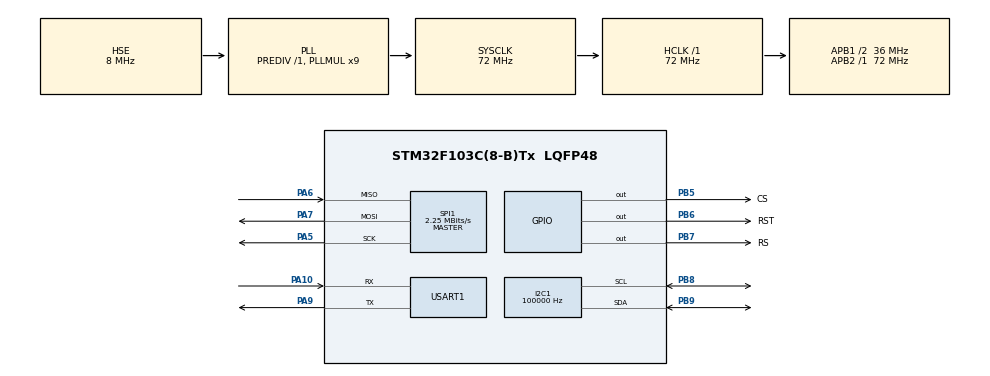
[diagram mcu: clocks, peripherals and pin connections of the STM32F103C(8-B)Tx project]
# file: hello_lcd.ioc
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Dma.Request0=SPI1_RX
Dma.Request1=SPI1_TX
Dma.SPI1_RX.0.Direction=DMA_PERIPH_TO_MEMORY
Dma.SPI1_RX.0.Instance=DMA1_Channel2
Dma.SPI1_RX.0.MemDataAlignment=DMA_MDATAALIGN_BYTE
Dma.SPI1_RX.0.MemInc=DMA_MINC_ENABLE
Dma.SPI1_RX.0.Mode=DMA_NORMAL
Dma.SPI1_RX.0.PeriphDataAlignment=DMA_PDATAALIGN_BYTE
Dma.SPI1_RX.0.PeriphInc=DMA_PINC_DISABLE
Dma.SPI1_RX.0.Priority=DMA_PRIORITY_LOW
Dma.SPI1_TX.1.Direction=DMA_MEMORY_TO_PERIPH
Dma.SPI1_TX.1.Instance=DMA1_Channel3
Dma.SPI1_TX.1.MemDataAlignment=DMA_MDATAALIGN_BYTE
Dma.SPI1_TX.1.MemInc=DMA_MINC_ENABLE
Dma.SPI1_TX.1.Mode=DMA_NORMAL
Dma.SPI1_TX.1.PeriphDataAlignment=DMA_PDATAALIGN_BYTE
Dma.SPI1_TX.1.PeriphInc=DMA_PINC_DISABLE
Dma.SPI1_TX.1.Priority=DMA_PRIORITY_LOW
FREERTOS.Tasks01=defaultTask,0,128,StartDefaultTask,Default,NULL
FREERTOS.configCHECK_FOR_STACK_OVERFLOW=1
FREERTOS.configTOTAL_HEAP_SIZE=8096
FREERTOS.configUSE_MALLOC_FAILED_HOOK=1
I2C1.ClockSpeed=100000
I2C1.NoStretchMode=I2C_NOSTRETCH_DISABLE
Mcu.Family=STM32F1
Mcu.Name=STM32F103C(8-B)Tx
Mcu.Package=LQFP48
NVIC.DMA1_Channel2_IRQn=true\:5\:0\:false\:false\:true\:true
NVIC.DMA1_Channel3_IRQn=true\:5\:0\:false\:false\:true\:true
NVIC.PriorityGroup=NVIC_PRIORITYGROUP_4
NVIC.RTC_IRQn=true\:0\:0\:false\:false\:true\:false
NVIC.SPI1_IRQn=true\:0\:0\:false\:false\:true\:false
NVIC.USART1_IRQn=true\:5\:0\:false\:false\:true\:true
PA10.Mode=Asynchronous
PA10.Signal=USART1_RX
PA13.Mode=Serial_Wire
PA13.Signal=SYS_JTMS-SWDIO
PA14.Mode=Serial_Wire
PA14.Signal=SYS_JTCK-SWCLK
PA5.Mode=Full_Duplex_Master
PA5.Signal=SPI1_SCK
PA6.Mode=Full_Duplex_Master
PA6.Signal=SPI1_MISO
PA7.Mode=Full_Duplex_Master
PA7.Signal=SPI1_MOSI
PA9.Mode=Asynchronous
PA9.Signal=USART1_TX
PB5.GPIO_Label=CS
PB5.Signal=GPIO_Output
PB6.GPIO_Label=RST
PB6.Signal=GPIO_Output
PB7.GPIO_Label=RS
PB7.Signal=GPIO_Output
PB8.Mode=I2C
PB8.Signal=I2C1_SCL
PB9.Mode=I2C
PB9.Signal=I2C1_SDA
PC14-OSC32_IN.Mode=LSE-External-Oscillator
PC14-OSC32_IN.Signal=RCC_OSC32_IN
PC15-OSC32_OUT.Mode=LSE-External-Oscillator
PC15-OSC32_OUT.Signal=RCC_OSC32_OUT
PD0-OSC_IN.Mode=HSE-External-Oscillator
PD0-OSC_IN.Signal=RCC_OSC_IN
PD1-OSC_OUT.Mode=HSE-External-Oscillator
PD1-OSC_OUT.Signal=RCC_OSC_OUT
ProjectManager.HeapSize=0x200
ProjectManager.StackSize=0x400
ProjectManager.TargetToolchain=EWARM
RCC.AHBFreq_Value=72000000
RCC.APB1CLKDivider=RCC_HCLK_DIV2
RCC.APB1Freq_Value=36000000
RCC.APB1TimFreq_Value=72000000
RCC.APB2Freq_Value=72000000
RCC.APB2TimFreq_Value=72000000
RCC.HCLKFreq_Value=72000000
RCC.PLLMUL=RCC_PLL_MUL9
RCC.PLLSourceVirtual=RCC_PLLSOURCE_HSE
RCC.RTCClockSelection=RCC_RTCCLKSOURCE_LSE
RCC.SYSCLKFreq_VALUE=72000000
RCC.SYSCLKSource=RCC_SYSCLKSOURCE_PLLCLK
RCC.USBFreq_Value=48000000
RCC.USBPrescaler=RCC_USBCLKSOURCE_PLL_DIV1_5
RTC.Date=31
RTC.Hours=4
RTC.Minutes=1
RTC.Month=RTC_MONTH_MAY
RTC.Seconds=14
RTC.WeekDay=RTC_WEEKDAY_THURSDAY
RTC.Year=17
SPI1.BaudRatePrescaler=SPI_BAUDRATEPRESCALER_32
SPI1.CalculateBaudRate=2.25 MBits/s
SPI1.Direction=SPI_DIRECTION_2LINES
SPI1.Mode=SPI_MODE_MASTER
SPI1.VirtualType=VM_MASTER
USART1.VirtualMode=VM_ASYNC
VP_FREERTOS_VS_ENABLE.Mode=Enabled
VP_RTC_VS_RTC_Activate.Mode=RTC_Enabled
VP_RTC_VS_RTC_Calendar.Mode=RTC_Calendar
board=hello_lcd

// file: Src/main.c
/**
  ******************************************************************************
  * File Name          : main.c
  * Description        : Main program body
  ******************************************************************************
  * This notice applies to any and all portions of this file
  * that are not between comment pairs USER CODE BEGIN and
  * USER CODE END. Other portions of this file, whether
  * inserted by the user or by software development tools
  * are owned by their respective copyright owners.
  *
  * Copyright (c) 2017 STMicroelectronics International N.V.
  * All rights reserved.
  *
  * Redistribution and use in source and binary forms, with or without
  * modification, are permitted, provided that the following conditions are met:
  *
  * 1. Redistribution of source code must retain the above copyright notice,
  *    this list of conditions and the following disclaimer.
  * 2. Redistributions in binary form must reproduce the above copyright notice,
  *    this list of conditions and the following disclaimer in the documentation
  *    and/or other materials provided with the distribution.
  * 3. Neither the name of STMicroelectronics nor the names of other
  *    contributors to this software may be used to endorse or promote products
  *    derived from this software without specific written permission.
  * 4. This software, including modifications and/or derivative works of this
  *    software, must execute solely and exclusively on microcontroller or
  *    microprocessor devices manufactured by or for STMicroelectronics.
  * 5. Redistribution and use of this software other than as permitted under
  *    this license is void and will automatically terminate your rights under
  *    this license.
  *
  * THIS SOFTWARE IS PROVIDED BY STMICROELECTRONICS AND CONTRIBUTORS "AS IS"
  * AND ANY EXPRESS, IMPLIED OR STATUTORY WARRANTIES, INCLUDING, BUT NOT
  * LIMITED TO, THE IMPLIED WARRANTIES OF MERCHANTABILITY, FITNESS FOR A
  * PARTICULAR PURPOSE AND NON-INFRINGEMENT OF THIRD PARTY INTELLECTUAL PROPERTY
  * RIGHTS ARE DISCLAIMED TO THE FULLEST EXTENT PERMITTED BY LAW. IN NO EVENT
  * SHALL STMICROELECTRONICS OR CONTRIBUTORS BE LIABLE FOR ANY DIRECT, INDIRECT,
  * INCIDENTAL, SPECIAL, EXEMPLARY, OR CONSEQUENTIAL DAMAGES (INCLUDING, BUT NOT
  * LIMITED TO, PROCUREMENT OF SUBSTITUTE GOODS OR SERVICES; LOSS OF USE, DATA,
  * OR PROFITS; OR BUSINESS INTERRUPTION) HOWEVER CAUSED AND ON ANY THEORY OF
  * LIABILITY, WHETHER IN CONTRACT, STRICT LIABILITY, OR TORT (INCLUDING
  * NEGLIGENCE OR OTHERWISE) ARISING IN ANY WAY OUT OF THE USE OF THIS SOFTWARE,
  * EVEN IF ADVISED OF THE POSSIBILITY OF SUCH DAMAGE.
  *
  ******************************************************************************
  */
#include "main.h"
#include "stm32f1xx_hal.h"
#include "cmsis_os.h"

/* USER CODE BEGIN Includes */
#include "stdio.h"
#include "lcd.h"
#include "uc1701x.h"
#include "stm32zet6_milestone_lcd.h"
#include "stm32zet6_milestone.h"
#include "debug_cfg.h"

/* USER CODE END Includes */

#define  MODULE      "@MAIN_module@"
I2C_HandleTypeDef hi2c1;

RTC_HandleTypeDef hrtc;

SPI_HandleTypeDef hspi1;
DMA_HandleTypeDef hdma_spi1_rx;
DMA_HandleTypeDef hdma_spi1_tx;

UART_HandleTypeDef huart1;

osThreadId defaultTaskHandle;

/* USER CODE BEGIN PV */
/* Private variables ---------------------------------------------------------*/
osThreadId gettimeTaskHandle;
osThreadId lcdTaskHandle;
extern LCD_DrvTypeDef uc1701x_drv;
LCD_DrvTypeDef *ptr_lcd_drv=&uc1701x_drv;
int32_t true_t,true_p;
uint8_t *fireware_ver="0.0.1";
/* USER CODE END PV */

void SystemClock_Config(void);
static void MX_GPIO_Init(void);
static void MX_DMA_Init(void);
static void MX_RTC_Init(void);
static void MX_SPI1_Init(void);
static void MX_USART1_UART_Init(void);
static void MX_I2C1_Init(void);
void StartDefaultTask(void const * argument);

/* USER CODE BEGIN PFP */
/* Private function prototypes -----------------------------------------------*/
void get_time_Task(void const *argument);
void lcd_Task(void const *argument);

/* USER CODE END PFP */

/* USER CODE BEGIN 0 */
void vApplicationStackOverflowHook(xTaskHandle xTask, signed char *pcTaskName)
{
  DEBUG_INFO("task stack overflow!name:%s\r\n",pcTaskName);

}

void vApplicationMallocFailedHook(void)
{
   DEBUG_INFO("task mem err!\r\n");
}
/* USER CODE END 0 */

int main(void)
{

  /* MCU Configuration----------------------------------------------------------*/

  /* Reset of all peripherals, Initializes the Flash interface and the Systick. */
  HAL_Init();

  /* Configure the system clock */
  SystemClock_Config();

  /* Initialize all configured peripherals */
  MX_GPIO_Init();
  MX_DMA_Init();
  MX_RTC_Init();
  MX_SPI1_Init();
  MX_USART1_UART_Init();
  MX_I2C1_Init();

  /* USER CODE BEGIN 2 */
  BSP_LCD_Init();
  DEBUG_INFO("******************************************************\r\n");
  DEBUG_INFO("         fireware version:%s\r\n",fireware_ver) ;
  DEBUG_INFO("         compile date:%s\r\n",__DATE__) ;
  DEBUG_INFO("         compile time:%s\r\n",__TIME__) ;
  DEBUG_INFO("******************************************************\r\n");
  /* USER CODE END 2 */

  /* Create the thread(s) */
  /* definition and creation of defaultTask */
  osThreadDef(defaultTask, StartDefaultTask, osPriorityNormal, 0, 128);
  defaultTaskHandle = osThreadCreate(osThread(defaultTask), NULL);

  /* USER CODE BEGIN RTOS_THREADS */
  /* add threads, ... */
   osThreadDef(get_time_Task, get_time_Task, osPriorityAboveNormal, 0, 512);
   gettimeTaskHandle = osThreadCreate(osThread(get_time_Task), NULL);

   osThreadDef(lcd_Task, lcd_Task, osPriorityNormal, 0, 256);
   lcdTaskHandle = osThreadCreate(osThread(lcd_Task), NULL);
  /* USER CODE END RTOS_THREADS */

  /* Start scheduler */
  osKernelStart();

  /* We should never get here as control is now taken by the scheduler */

  /* Infinite loop */
  while (1)
  {

  }

}

/** System Clock Configuration
*/
void SystemClock_Config(void)
{

  RCC_OscInitTypeDef RCC_OscInitStruct;
  RCC_ClkInitTypeDef RCC_ClkInitStruct;
  RCC_PeriphCLKInitTypeDef PeriphClkInit;

    /**Initializes the CPU, AHB and APB busses clocks
    */
  RCC_OscInitStruct.OscillatorType = RCC_OSCILLATORTYPE_HSE|RCC_OSCILLATORTYPE_LSE;
  RCC_OscInitStruct.HSEState = RCC_HSE_ON;
  RCC_OscInitStruct.HSEPredivValue = RCC_HSE_PREDIV_DIV1;
  RCC_OscInitStruct.LSEState = RCC_LSE_ON;
  RCC_OscInitStruct.HSIState = RCC_HSI_ON;
  RCC_OscInitStruct.PLL.PLLState = RCC_PLL_ON;
  RCC_OscInitStruct.PLL.PLLSource = RCC_PLLSOURCE_HSE;
  RCC_OscInitStruct.PLL.PLLMUL = RCC_PLL_MUL9;
  if (HAL_RCC_OscConfig(&RCC_OscInitStruct) != HAL_OK)
  {
    _Error_Handler(__FILE__, __LINE__);
  }

    /**Initializes the CPU, AHB and APB busses clocks
    */
  RCC_ClkInitStruct.ClockType = RCC_CLOCKTYPE_HCLK|RCC_CLOCKTYPE_SYSCLK
                              |RCC_CLOCKTYPE_PCLK1|RCC_CLOCKTYPE_PCLK2;
  RCC_ClkInitStruct.SYSCLKSource = RCC_SYSCLKSOURCE_PLLCLK;
  RCC_ClkInitStruct.AHBCLKDivider = RCC_SYSCLK_DIV1;
  RCC_ClkInitStruct.APB1CLKDivider = RCC_HCLK_DIV2;
  RCC_ClkInitStruct.APB2CLKDivider = RCC_HCLK_DIV1;

  if (HAL_RCC_ClockConfig(&RCC_ClkInitStruct, FLASH_LATENCY_2) != HAL_OK)
  {
    _Error_Handler(__FILE__, __LINE__);
  }

  PeriphClkInit.PeriphClockSelection = RCC_PERIPHCLK_RTC;
  PeriphClkInit.RTCClockSelection = RCC_RTCCLKSOURCE_LSE;
  if (HAL_RCCEx_PeriphCLKConfig(&PeriphClkInit) != HAL_OK)
  {
    _Error_Handler(__FILE__, __LINE__);
  }

    /**Configure the Systick interrupt time
    */
  HAL_SYSTICK_Config(HAL_RCC_GetHCLKFreq()/1000);

    /**Configure the Systick
    */
  HAL_SYSTICK_CLKSourceConfig(SYSTICK_CLKSOURCE_HCLK);

  /* SysTick_IRQn interrupt configuration */
  HAL_NVIC_SetPriority(SysTick_IRQn, 15, 0);
}

/* I2C1 init function */
static void MX_I2C1_Init(void)
{

  hi2c1.Instance = I2C1;
  hi2c1.Init.ClockSpeed = 100000;
  hi2c1.Init.DutyCycle = I2C_DUTYCYCLE_2;
  hi2c1.Init.OwnAddress1 = 0;
  hi2c1.Init.AddressingMode = I2C_ADDRESSINGMODE_7BIT;
  hi2c1.Init.DualAddressMode = I2C_DUALADDRESS_DISABLE;
  hi2c1.Init.OwnAddress2 = 0;
  hi2c1.Init.GeneralCallMode = I2C_GENERALCALL_DISABLE;
  hi2c1.Init.NoStretchMode = I2C_NOSTRETCH_DISABLE;
  if (HAL_I2C_Init(&hi2c1) != HAL_OK)
  {
    _Error_Handler(__FILE__, __LINE__);
  }

}

/* RTC init function */
static void MX_RTC_Init(void)
{

  RTC_TimeTypeDef sTime;
  RTC_DateTypeDef DateToUpdate;

    /**Initialize RTC Only
    */
  hrtc.Instance = RTC;
  hrtc.Init.AsynchPrediv = RTC_AUTO_1_SECOND;
  hrtc.Init.OutPut = RTC_OUTPUTSOURCE_ALARM;
  if (HAL_RTC_Init(&hrtc) != HAL_OK)
  {
    _Error_Handler(__FILE__, __LINE__);
  }

    /**Initialize RTC and set the Time and Date
    */
  if(HAL_RTCEx_BKUPRead(&hrtc, RTC_BKP_DR1) != 0x32F2){
  sTime.Hours = 0x4;
  sTime.Minutes = 0x1;
  sTime.Seconds = 0x14;

  if (HAL_RTC_SetTime(&hrtc, &sTime, RTC_FORMAT_BCD) != HAL_OK)
  {
    _Error_Handler(__FILE__, __LINE__);
  }

  DateToUpdate.WeekDay = RTC_WEEKDAY_THURSDAY;
  DateToUpdate.Month = RTC_MONTH_MAY;
  DateToUpdate.Date = 0x31;
  DateToUpdate.Year = 0x17;

  if (HAL_RTC_SetDate(&hrtc, &DateToUpdate, RTC_FORMAT_BCD) != HAL_OK)
  {
    _Error_Handler(__FILE__, __LINE__);
  }

    HAL_RTCEx_BKUPWrite(&hrtc,RTC_BKP_DR1,0x32F2);
  }

}

/* SPI1 init function */
static void MX_SPI1_Init(void)
{

  hspi1.Instance = SPI1;
  hspi1.Init.Mode = SPI_MODE_MASTER;
  hspi1.Init.Direction = SPI_DIRECTION_2LINES;
  hspi1.Init.DataSize = SPI_DATASIZE_8BIT;
  hspi1.Init.CLKPolarity = SPI_POLARITY_LOW;
  hspi1.Init.CLKPhase = SPI_PHASE_1EDGE;
  hspi1.Init.NSS = SPI_NSS_SOFT;
  hspi1.Init.BaudRatePrescaler = SPI_BAUDRATEPRESCALER_32;
  hspi1.Init.FirstBit = SPI_FIRSTBIT_MSB;
  hspi1.Init.TIMode = SPI_TIMODE_DISABLE;
  hspi1.Init.CRCCalculation = SPI_CRCCALCULATION_DISABLE;
  hspi1.Init.CRCPolynomial = 10;
  if (HAL_SPI_Init(&hspi1) != HAL_OK)
  {
    _Error_Handler(__FILE__, __LINE__);
  }

}

/* USART1 init function */
static void MX_USART1_UART_Init(void)
{

  huart1.Instance = USART1;
  huart1.Init.BaudRate = 115200;
  huart1.Init.WordLength = UART_WORDLENGTH_8B;
  huart1.Init.StopBits = UART_STOPBITS_1;
  huart1.Init.Parity = UART_PARITY_NONE;
  huart1.Init.Mode = UART_MODE_TX_RX;
  huart1.Init.HwFlowCtl = UART_HWCONTROL_NONE;
  huart1.Init.OverSampling = UART_OVERSAMPLING_16;
  if (HAL_UART_Init(&huart1) != HAL_OK)
  {
    _Error_Handler(__FILE__, __LINE__);
  }

}

static void MX_DMA_Init(void)
{
  /* DMA controller clock enable */
  __HAL_RCC_DMA1_CLK_ENABLE();

  /* DMA interrupt init */
  /* DMA1_Channel2_IRQn interrupt configuration */
  HAL_NVIC_SetPriority(DMA1_Channel2_IRQn, 5, 0);
  HAL_NVIC_EnableIRQ(DMA1_Channel2_IRQn);
  /* DMA1_Channel3_IRQn interrupt configuration */
  HAL_NVIC_SetPriority(DMA1_Channel3_IRQn, 5, 0);
  HAL_NVIC_EnableIRQ(DMA1_Channel3_IRQn);

}

/** Configure pins as
        * Analog
        * Input
        * Output
        * EVENT_OUT
        * EXTI
        * Free pins are configured automatically as Analog (this feature is enabled through
        * the Code Generation settings)
*/
static void MX_GPIO_Init(void)
{

  GPIO_InitTypeDef GPIO_InitStruct;

  /* GPIO Ports Clock Enable */
  __HAL_RCC_GPIOC_CLK_ENABLE();
  __HAL_RCC_GPIOD_CLK_ENABLE();
  __HAL_RCC_GPIOA_CLK_ENABLE();
  __HAL_RCC_GPIOB_CLK_ENABLE();

  /*Configure GPIO pin Output Level */
  HAL_GPIO_WritePin(GPIOB, CS_Pin|RST_Pin|RS_Pin, GPIO_PIN_RESET);

  /*Configure GPIO pin : PC13 */
  GPIO_InitStruct.Pin = GPIO_PIN_13;
  GPIO_InitStruct.Mode = GPIO_MODE_ANALOG;
  HAL_GPIO_Init(GPIOC, &GPIO_InitStruct);

  /*Configure GPIO pins : PA0 PA1 PA2 PA3
                           PA4 PA8 PA11 PA12
                           PA15 */
  GPIO_InitStruct.Pin = GPIO_PIN_0|GPIO_PIN_1|GPIO_PIN_2|GPIO_PIN_3
                          |GPIO_PIN_4|GPIO_PIN_8|GPIO_PIN_11|GPIO_PIN_12
                          |GPIO_PIN_15;
  GPIO_InitStruct.Mode = GPIO_MODE_ANALOG;
  HAL_GPIO_Init(GPIOA, &GPIO_InitStruct);

  /*Configure GPIO pins : PB0 PB1 PB2 PB10
                           PB11 PB12 PB13 PB14
                           PB15 PB3 PB4 */
  GPIO_InitStruct.Pin = GPIO_PIN_0|GPIO_PIN_1|GPIO_PIN_2|GPIO_PIN_10
                          |GPIO_PIN_11|GPIO_PIN_12|GPIO_PIN_13|GPIO_PIN_14
                          |GPIO_PIN_15|GPIO_PIN_3|GPIO_PIN_4;
  GPIO_InitStruct.Mode = GPIO_MODE_ANALOG;
  HAL_GPIO_Init(GPIOB, &GPIO_InitStruct);

  /*Configure GPIO pins : CS_Pin RST_Pin RS_Pin */
  GPIO_InitStruct.Pin = CS_Pin|RST_Pin|RS_Pin;
  GPIO_InitStruct.Mode = GPIO_MODE_OUTPUT_PP;
  GPIO_InitStruct.Speed = GPIO_SPEED_FREQ_LOW;
  HAL_GPIO_Init(GPIOB, &GPIO_InitStruct);

}

/* USER CODE BEGIN 4 */
int fputc(int ch, FILE *f)
{
 HAL_UART_Transmit(&huart1,(uint8_t*)&ch,1,0xff);
 return ch;
}

void get_time_Task(void const *argument)
{
   // uint32_t systick;

    HAL_StatusTypeDef status=HAL_ERROR;
    RTC_DateTypeDef date;
    RTC_TimeTypeDef time;

    BSP_LCD_SetTextColor(RGB_CODE_BLACK);
    BSP_LCD_SetBackColor(RGB_CODE_BLANK);

    for(;;)
    {
    //DEBUG_INFO("task id:%d prio:%d\r\n",(uint32_t)osThreadGetId(),osThreadGetPriority(osThreadGetId()));
    status=HAL_RTC_GetTime(&hrtc, &time, RTC_FORMAT_BIN);
    if(status==HAL_OK)
    {
     //DEBUG_INFO("current time-> hr:%2d min:%2d sec:%2d\r\n",time.Hours,time.Minutes,time.Seconds);

    }
     status=HAL_RTC_GetDate(&hrtc, &date, RTC_FORMAT_BIN);
    if(status==HAL_OK)
    {
      //DEBUG_INFO("current date -> Year:%2d Month:%2d Date:%2d WeekDay:%2d\r\n",date.Year,date.Month,date.Date,date.WeekDay);

    }
    BSP_LCD_SetFont(&Font8);
    BSP_LCD_DisplayStringAtXposLine(2,1,"Year:");
    BSP_LCD_DisplayStringAtXposLine(42,1,"Month:");
    BSP_LCD_DisplayStringAtXposLine(87,1,"Date:");

    BSP_LCD_DisplayUint16DecAtXposLine(27,1,date.Year,2);
    BSP_LCD_DisplayUint16DecAtXposLine(72,1,date.Month,2);
    BSP_LCD_DisplayUint16DecAtXposLine(112,1,date.Date,2);

    BSP_LCD_DisplayStringAtXposLine(2,2,"Hour:");
    BSP_LCD_DisplayStringAtXposLine(42,2,"Min:");
    BSP_LCD_DisplayStringAtXposLine(87,2,"Sec:");

    BSP_LCD_DisplayUint16DecAtXposLine(27,2,time.Hours,2);
    BSP_LCD_DisplayUint16DecAtXposLine(72,2,time.Minutes,2);
    BSP_LCD_DisplayUint16DecAtXposLine(112,2,time.Seconds,2);

    BSP_LCD_SetFont(&Font16);
    BSP_LCD_DisplayStringAtXposLine(0,3,"P:");
    BSP_LCD_DisplayfloatAtXposLine(22,3,true_p/1000.0,3);
    BSP_LCD_DisplayStringAtXposLine(95,3,"Kpa");

    BSP_LCD_DisplayStringAtXposLine(0,2,"T:");
    BSP_LCD_DisplayfloatAtXposLine(22,2,true_t/10.0,2);
    BSP_LCD_DisplayStringAtXposLine(88,2,"C");

    BSP_LCD_DrawRect(0,0,128,64);

    osDelay(300);
    }
}

void lcd_Task(void const *argument)
{
  uint32_t systick;
 for(;;)
 {
    //DEBUG_INFO("task id:%d prio:%d\r\n",(uint32_t)osThreadGetId(),osThreadGetPriority(osThreadGetId()));
    systick=osKernelSysTick();
    //DEBUG_INFO("current systicks:%8d\r\n",systick);
    uc1701x_refresh_screen();
    systick=osKernelSysTick();
    //DEBUG_INFO("current systicks:%8d\r\n",systick);

    osDelay(300);
 }
}
/* USER CODE END 4 */

/* StartDefaultTask function */
void StartDefaultTask(void const * argument)
{

  /* USER CODE BEGIN 5 */
  HAL_StatusTypeDef status;

  BSP_BMP180_init();
  /* Infinite loop */
  for(;;)
  {
    BSP_BMP180_read_true_temperature_and_pressure(&true_t,&true_p);
    DEBUG_INFO("true temperature:%d true pressure:%d\r\n",true_t,true_p);

    DEBUG_INFO("task id:%d prio:%d\r\n",(uint32_t)osThreadGetId(),osThreadGetPriority(osThreadGetId()));
    HAL_UART_Transmit_IT(&huart1,"hello world!!\r\n",sizeof("hello world!!\r\n"));
    osDelay(2000);

  }
  /* USER CODE END 5 */
}

void _Error_Handler(char * file, int line)
{
  while(1)
  {
  }
}

#ifdef USE_FULL_ASSERT

/**
   * @brief Reports the name of the source file and the source line number
   * where the assert_param error has occurred.
   * @param file: pointer to the source file name
   * @param line: assert_param error line source number
   * @retval None
   */
void assert_failed(uint8_t* file, uint32_t line)
{
  /* USER CODE BEGIN 6 */
  /* User can add his own implementation to report the file name and line number,
    ex: DEBUG_INFO("Wrong parameters value: file %s on line %d\r\n", file, line) */

  DEBUG_INFO("Wrong parameters value: file %s on line %d\r\n", file, line);
  /* USER CODE END 6 */

}

#endif

/************************ (C) COPYRIGHT STMicroelectronics *****END OF FILE****/
